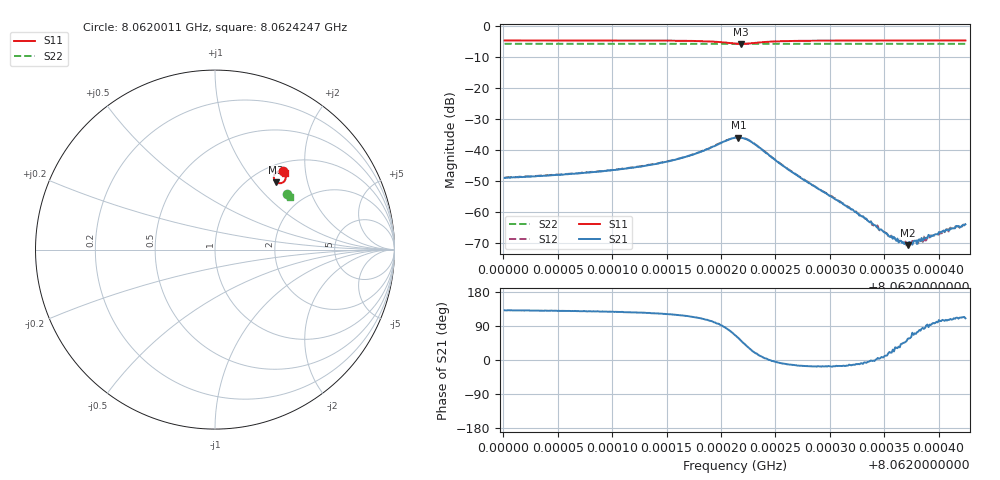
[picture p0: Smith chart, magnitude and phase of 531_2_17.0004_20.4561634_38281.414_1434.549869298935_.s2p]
#  HZ  S  RI  R  50.00
! Rohde & Schwarz Vector Network Analyzer
! Rohde-Schwarz,ZNB20-2Port,1311601062101988,3.16
! Created: UTC 3/20/2024, 11:15:54 PM
! freq[Hz]  re:S11  im:S11  re:S21  im:S21  re:S12  im:S12  re:S22  im:S22
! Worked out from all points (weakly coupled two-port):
!   401 points, 8.0620011 GHz to 8.0624247 GHz, reference 50 ohm
!   highest |S21| = -36.12 dB at 8.062216 GHz (marker M1); lowest = -70.9 dB at 8.0623717 GHz (marker M2)
!   lowest |S11| = -5.9 dB at 8.0622182 GHz (marker M3), VSWR 3.06, Z = 64.5 + j65.3 ohm
!   |S11| at or under -10 dB: nowhere
!   |S22| runs from -5.9 to -5.9 dB; largest |S21 - S12| = 0.0011
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8.06200106e9  0.377 0.4356  -0.0023 0.00263  -0.00214 0.00279  0.4028 0.3112
8.06207201e9  0.3829 0.4297  -0.00263 0.00326  -0.0025 0.00346  0.4055 0.3075
8.06211225e9  0.3869 0.4247  -0.00292 0.00397  -0.00274 0.00417  0.4071 0.3055
8.06214296e9  0.3906 0.4187  -0.00324 0.00506  -0.00294 0.0053  0.4079 0.3038
8.06217367e9  0.3941 0.4062  -0.00332 0.00754  -0.00292 0.00781  0.4091 0.3016
8.06219697e9  0.3884 0.384  -0.00128 0.012  -0.000596 0.0123  0.4093 0.2996
8.06221286e9  0.3566 0.3698  0.00638 0.0142  0.00723 0.0138  0.4083 0.2986
8.06221603e9  0.3468 0.3726  0.0083 0.0133  0.00917 0.0128  0.408 0.2988
8.06221815e9  0.3408 0.376  0.00963 0.0122  0.0104 0.0118  0.4078 0.2988
8.06222874e9  0.3277 0.405  0.0119 0.00526  0.0123 0.00474  0.4078 0.2998
8.06225627e9  0.3542 0.4354  0.0055 -0.000883  0.00549 -0.00119  0.4106 0.2996
8.06228381e9  0.3689 0.4353  0.00255 -0.000762  0.00255 -0.000922  0.412 0.2982
8.06231981e9  0.3779 0.4321  0.00105 -0.00026  0.00103 -0.000317  0.4136 0.296
8.06235476e9  0.383 0.429  0.000368 0.000142  0.000392 8.13e-05  0.4148 0.2941
8.06236535e9  0.3841 0.4284  0.00025 0.000226  0.000262 0.000211  0.4153 0.2935
8.0623717e9  0.385 0.4278  0.000159 0.000238  0.000172 0.000222  0.4155 0.2933
8.06237806e9  0.3855 0.4274  0.000115 0.000328  9.78e-05 0.00031  0.4157 0.2929
8.06238653e9  0.3866 0.4267  5e-05 0.000365  5.42e-05 0.00039  0.4162 0.2924
8.06239182e9  0.387 0.4265  -2.4e-05 0.000404  -2.53e-05 0.00038  0.4162 0.2921
8.06240135e9  0.3879 0.4257  -0.000102 0.000448  -5.81e-05 0.000437  0.4165 0.2917
8.062413e9  0.3888 0.4251  -0.00016 0.000513  -0.000131 0.000513  0.4171 0.2909
8.06242465e9  0.3898 0.4242  -0.000214 0.000584  -0.0002 0.000576  0.4174 0.2905
